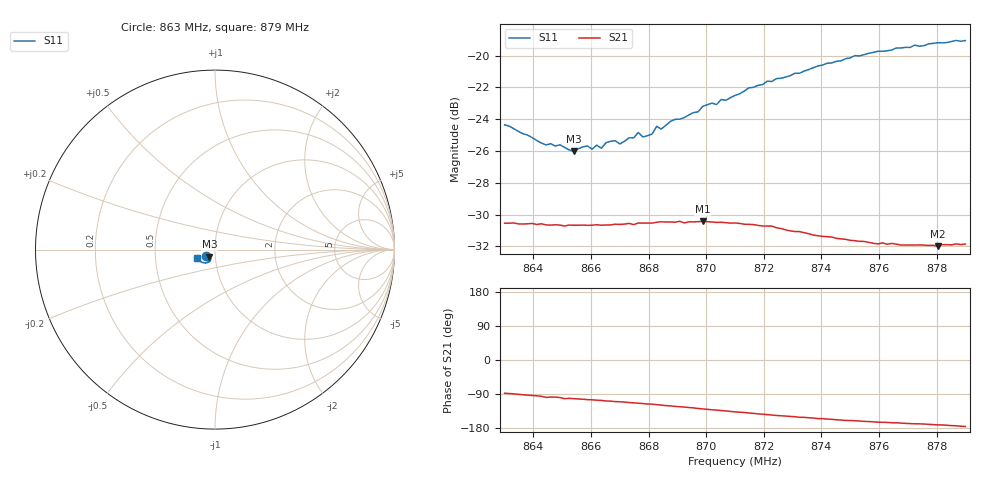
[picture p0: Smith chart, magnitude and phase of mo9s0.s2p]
# HZ S RI R 50
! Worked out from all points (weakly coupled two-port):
!   101 points, 863 MHz to 879 MHz, reference 50 ohm
!   highest |S21| = -30.42 dB at 869.88 MHz (marker M1); lowest = -32.0 dB at 878.04 MHz (marker M2)
!   lowest |S11| = -26.0 dB at 865.4 MHz (marker M3), VSWR 1.11, Z = 46.8 - j3.67 ohm
!   |S11| at or under -10 dB: start of sweep to end of sweep
!   S12 and S22 are empty: the file has one direction only
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8.63e8  -0.0474 -0.0377  0.00127 -0.0297  0 0  0 0
8.6444e8  -0.0369 -0.0372  -0.00441 -0.029  0 0  0 0
8.6492e8  -0.0354 -0.0387  -0.00458 -0.029  0 0  0 0
8.654e8  -0.0311 -0.0391  -0.00606 -0.0287  0 0  0 0
8.6572e8  -0.0293 -0.0426  -0.00686 -0.0285  0 0  0 0
8.6636e8  -0.0284 -0.0425  -0.00843 -0.0281  0 0  0 0
8.6652e8  -0.0278 -0.0454  -0.00908 -0.0279  0 0  0 0
8.67e8  -0.0279 -0.0448  -0.0102 -0.0277  0 0  0 0
8.6764e8  -0.0276 -0.0502  -0.0121 -0.0272  0 0  0 0
8.678e8  -0.025 -0.0496  -0.0126 -0.027  0 0  0 0
8.6812e8  -0.0235 -0.0515  -0.0133 -0.0266  0 0  0 0
8.6828e8  -0.0258 -0.0541  -0.014 -0.0265  0 0  0 0
8.6844e8  -0.0259 -0.0527  -0.0145 -0.0263  0 0  0 0
8.6876e8  -0.0257 -0.0565  -0.0155 -0.0257  0 0  0 0
8.6972e8  -0.0267 -0.061  -0.0185 -0.0237  0 0  0 0
8.6988e8  -0.0284 -0.0632  -0.019 -0.0234  0 0  0 0
8.7036e8  -0.03 -0.0634  -0.0201 -0.0222  0 0  0 0
8.71e8  -0.0333 -0.0671  -0.0218 -0.0203  0 0  0 0
8.7372e8  -0.0529 -0.0748  -0.0243 -0.0123  0 0  0 0
8.7644e8  -0.0803 -0.0662  -0.0249 -0.00638  0 0  0 0
8.7804e8  -0.0949 -0.0552  -0.0249 -0.0038  0 0  0 0
8.79e8  -0.1012 -0.0467  -0.0255 -0.00198  0 0  0 0
